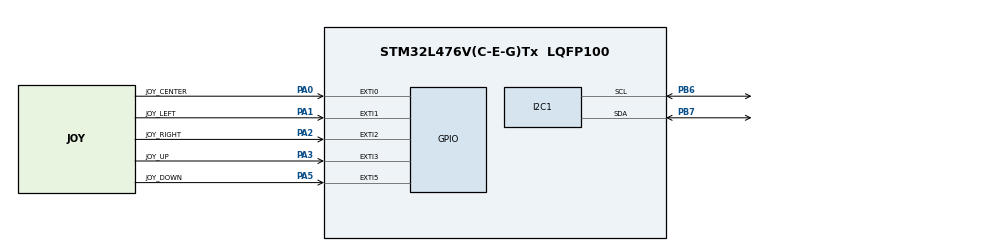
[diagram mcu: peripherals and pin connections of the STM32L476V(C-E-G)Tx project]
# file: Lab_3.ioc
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Mcu.Family=STM32L4
RCC.MSI_VALUE=4000000
PA2.GPIO_PuPd=GPIO_PULLDOWN
RTC.AlarmMaskHours-Alarm\ A=RTC_ALARMMASK_HOURS
RCC.CortexFreq_Value=4000000
NVIC.I2C1_EV_IRQn=true\:0\:0\:false\:false\:true\:true\:true
PA3.GPIO_PuPd=GPIO_PULLDOWN
PA0.GPIO_Label=JOY_CENTER
NVIC.EXTI3_IRQn=true\:0\:0\:false\:false\:true\:true\:true
VP_RTC_VS_RTC_Activate.Mode=RTC_Enabled
RTC.WeekDay=RTC_WEEKDAY_MONDAY
RTC.AlarmMaskMinutes-Alarm\ A=RTC_ALARMMASK_MINUTES
VP_RTC_VS_RTC_Alarm_A_Intern.Mode=Alarm A
ProjectManager.StackSize=0x400
RTC.Seconds_A-Alarm\ A=0
NVIC.EXTI1_IRQn=true\:0\:0\:false\:false\:true\:true\:true
ProjectManager.TargetToolchain=MDK-ARM V5.27
RTC.Year=0
PB6.Signal=I2C1_SCL
PB6.Mode=I2C
RTC.Format=RTC_FORMAT_BIN
RCC.LSE_VALUE=32768
PA1.GPIO_PuPd=GPIO_PULLDOWN
PA1.Signal=GPXTI1
RCC.PREFETCH_ENABLE=1
PA5.Signal=GPXTI5
RCC.HSE_VALUE=8000000
RTC.Minutes=30
board=STM32L476G-DISCO
RCC.VCOOutputFreq_Value=32000000
RTC.AlarmMaskSeconds-Alarm\ A=RTC_ALARMMASK_SECONDS
RTC.Month=RTC_MONTH_NOVEMBER
PA5.GPIO_PuPd=GPIO_PULLDOWN
PA1.GPIO_Label=JOY_LEFT
PB7.Signal=I2C1_SDA
NVIC.I2C1_ER_IRQn=true\:0\:0\:false\:false\:true\:true\:true
NVIC.RTC_Alarm_IRQn=true\:0\:0\:false\:false\:true\:true\:true
Mcu.Name=STM32L476V(C-E-G)Tx
RTC.Alarm-Alarm\ A=RTC_ALARM_A
PA2.Signal=GPXTI2
PA0.Signal=GPXTI0
RTC.AlarmMaskDateWeekDay-Alarm\ A=RTC_ALARMMASK_DATEWEEKDAY
NVIC.EXTI0_IRQn=true\:0\:0\:false\:false\:true\:true\:true
RTC.Hours=9
Mcu.Package=LQFP100
PA5.GPIO_Label=JOY_DOWN
PA2.GPIO_Label=JOY_RIGHT
PB7.Mode=I2C
NVIC.EXTI9_5_IRQn=true\:0\:0\:false\:false\:true\:true\:true
VP_RTC_VS_RTC_Calendar.Mode=RTC_Calendar
ProjectManager.HeapSize=0x200
RCC.HSI_VALUE=16000000
NVIC.PriorityGroup=NVIC_PRIORITYGROUP_4
NVIC.EXTI2_IRQn=true\:0\:0\:false\:false\:true\:true\:true
PA3.GPIO_Label=JOY_UP
PA3.Signal=GPXTI3

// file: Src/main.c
/* USER CODE BEGIN Header */
/**
  ******************************************************************************
  * @file           : main.c
  * @brief          : Main program body
  ******************************************************************************
  * @attention
  *
  * <h2><center>&copy; Copyright (c) 2020 STMicroelectronics.
  * All rights reserved.</center></h2>
  *
  * This software component is licensed by ST under BSD 3-Clause license,
  * the "License"; You may not use this file except in compliance with the
  * License. You may obtain a copy of the License at:
  *                        opensource.org/licenses/BSD-3-Clause
  *
  ******************************************************************************
  */
/* USER CODE END Header */
#include "main.h"

/* USER CODE BEGIN Includes */
#include <stdio.h>
#include <stdlib.h>
#include <string.h>
/* USER CODE END Includes */

/* USER CODE BEGIN PTD */
typedef enum fsm_state {
	SHOW_TIME,
	SHOW_DATE,
	STORE_TIME_EE,
	SHOW_STORED,
	SET_TIME
} fsm_state;

typedef enum set_state {
	DAY,
	DATE,
	MONTH,
	YEAR,
	HOUR,
	MINUTE,
	SECOND,
} set_state;

typedef enum button {
	NONE,
	SEL,
	LEFT,
	RIGHT,
	UP,
	DOWN
}	button;

/* USER CODE END PTD */

/* USER CODE BEGIN PD */
RTC_DateTypeDef date_struct;
RTC_TimeTypeDef time_struct;
/* USER CODE END PD */

I2C_HandleTypeDef hi2c1;
RTC_HandleTypeDef hrtc;

/* USER CODE BEGIN PV */
#define EEPROM_ADDRESS  0xA0
__IO uint16_t memLocation = 0x0000;
uint16_t EE_status;
char lcd_buffer[6];    // LCD display buffe

fsm_state STATE = SHOW_TIME;
button BUTTON = NONE;

set_state SET_STATE;

uint16_t sel_tick = 0;

uint16_t date, year, sec, min, hour;
char day[6], month[6];
/* USER CODE END PV */

void SystemClock_Config(void);
static void MX_GPIO_Init(void);
static void MX_I2C1_Init(void);
static void MX_RTC_Init(void);
/* USER CODE BEGIN PFP */
void show_time();
void store_time();
void show_stored();
void show_date();
void set_time();

void get_day();
void get_month();

/* USER CODE END PFP */

int main(void)
{

  /* MCU Configuration--------------------------------------------------------*/

  /* Reset of all peripherals, Initializes the Flash interface and the Systick. */
  HAL_Init();

  /* Configure the system clock */
  SystemClock_Config();

  /* USER CODE BEGIN SysInit */
	HAL_InitTick(0x0000);
	BSP_LCD_GLASS_Init();
	BSP_LED_Init(LED4);
  /* USER CODE END SysInit */

  /* Initialize all configured peripherals */
  MX_GPIO_Init();
  MX_I2C1_Init();
  MX_RTC_Init();
  /* USER CODE BEGIN 2 */

	/*---------------------TEST I2C and EEPROM----------------------
	uint8_t data1 = 0x80,  data2=0x81;
	uint8_t readData=0x00;

	EE_status=I2C_ByteWrite(&hi2c1,EEPROM_ADDRESS, memLocation, data1);

  if(EE_status != HAL_OK)
  {
    I2C_Error(&hi2c1);
  }

	BSP_LCD_GLASS_Clear();
	if (EE_status==HAL_OK) {
			BSP_LCD_GLASS_DisplayString((uint8_t*)"w 1 ok");
	}else
			BSP_LCD_GLASS_DisplayString((uint8_t*)"w 1 X");

	HAL_Delay(1000);

	EE_status=I2C_ByteWrite(&hi2c1,EEPROM_ADDRESS, memLocation+1 , data2);////////////////////////////////

  if(EE_status != HAL_OK)
  {
    I2C_Error(&hi2c1);
  }

	BSP_LCD_GLASS_Clear();
	if (EE_status==HAL_OK) {
			BSP_LCD_GLASS_DisplayString((uint8_t*)"w 2 ok");
	}else
			BSP_LCD_GLASS_DisplayString((uint8_t*)"w 2 X");

	HAL_Delay(1000);

	readData=I2C_ByteRead(&hi2c1,EEPROM_ADDRESS, memLocation);

	BSP_LCD_GLASS_Clear();
	if (data1 == readData) {
			BSP_LCD_GLASS_DisplayString((uint8_t*)"r 1 ok");;
	}else{
			BSP_LCD_GLASS_DisplayString((uint8_t*)"r 1 X");
	}

	HAL_Delay(1000);

	readData=I2C_ByteRead(&hi2c1,EEPROM_ADDRESS, memLocation+1);

	BSP_LCD_GLASS_Clear();
	if (data2 == readData) {
			BSP_LCD_GLASS_DisplayString((uint8_t*)"r 2 ok");;
	}else{
			BSP_LCD_GLASS_DisplayString((uint8_t *)"r 2 X");
	}

	HAL_Delay(1000);

	BSP_LCD_GLASS_Clear();
	sprintf(lcd_buffer,"%d",readData);
	BSP_LCD_GLASS_DisplayString((uint8_t*) lcd_buffer);
	*/

  /* USER CODE END 2 */

  /* Infinite loop */
  /* USER CODE BEGIN WHILE */
  while (1)
  {
		switch(STATE) {
			case SHOW_TIME:
				show_time();
				break;

			case SHOW_DATE:
				show_date();
				STATE = SHOW_TIME;
				break;

			case STORE_TIME_EE:
				store_time();
				STATE = SHOW_TIME;
				break;

			case SHOW_STORED:
				show_stored();
				STATE = SHOW_TIME;
				break;

			case SET_TIME:
				set_time();
				break;

			default:
				break;

			BUTTON = NONE;
	}

    /* USER CODE END WHILE */

  }
}

void SystemClock_Config(void)
{
  RCC_OscInitTypeDef RCC_OscInitStruct = {0};
  RCC_ClkInitTypeDef RCC_ClkInitStruct = {0};
  RCC_PeriphCLKInitTypeDef PeriphClkInit = {0};

  /** Initializes the RCC Oscillators according to the specified parameters
  * in the RCC_OscInitTypeDef structure.
  */
  RCC_OscInitStruct.OscillatorType = RCC_OSCILLATORTYPE_LSI|RCC_OSCILLATORTYPE_MSI;
  RCC_OscInitStruct.LSIState = RCC_LSI_ON;
  RCC_OscInitStruct.MSIState = RCC_MSI_ON;
  RCC_OscInitStruct.MSICalibrationValue = 0;
  RCC_OscInitStruct.MSIClockRange = RCC_MSIRANGE_6;
  RCC_OscInitStruct.PLL.PLLState = RCC_PLL_NONE;
  if (HAL_RCC_OscConfig(&RCC_OscInitStruct) != HAL_OK)
  {
    Error_Handler();
  }
  /** Initializes the CPU, AHB and APB buses clocks
  */
  RCC_ClkInitStruct.ClockType = RCC_CLOCKTYPE_HCLK|RCC_CLOCKTYPE_SYSCLK
                              |RCC_CLOCKTYPE_PCLK1|RCC_CLOCKTYPE_PCLK2;
  RCC_ClkInitStruct.SYSCLKSource = RCC_SYSCLKSOURCE_MSI;
  RCC_ClkInitStruct.AHBCLKDivider = RCC_SYSCLK_DIV1;
  RCC_ClkInitStruct.APB1CLKDivider = RCC_HCLK_DIV1;
  RCC_ClkInitStruct.APB2CLKDivider = RCC_HCLK_DIV1;

  if (HAL_RCC_ClockConfig(&RCC_ClkInitStruct, FLASH_LATENCY_0) != HAL_OK)
  {
    Error_Handler();
  }
  PeriphClkInit.PeriphClockSelection = RCC_PERIPHCLK_RTC|RCC_PERIPHCLK_I2C1;
  PeriphClkInit.I2c1ClockSelection = RCC_I2C1CLKSOURCE_PCLK1;
  PeriphClkInit.RTCClockSelection = RCC_RTCCLKSOURCE_LSI;
  if (HAL_RCCEx_PeriphCLKConfig(&PeriphClkInit) != HAL_OK)
  {
    Error_Handler();
  }
  /** Configure the main internal regulator output voltage
  */
  if (HAL_PWREx_ControlVoltageScaling(PWR_REGULATOR_VOLTAGE_SCALE1) != HAL_OK)
  {
    Error_Handler();
  }
}

static void MX_I2C1_Init(void)
{

  hi2c1.Instance = I2C1;
  hi2c1.Init.Timing = 0x00000E14;
  hi2c1.Init.OwnAddress1 = 0;
  hi2c1.Init.AddressingMode = I2C_ADDRESSINGMODE_7BIT;
  hi2c1.Init.DualAddressMode = I2C_DUALADDRESS_DISABLE;
  hi2c1.Init.OwnAddress2 = 0;
  hi2c1.Init.OwnAddress2Masks = I2C_OA2_NOMASK;
  hi2c1.Init.GeneralCallMode = I2C_GENERALCALL_DISABLE;
  hi2c1.Init.NoStretchMode = I2C_NOSTRETCH_DISABLE;
  if (HAL_I2C_Init(&hi2c1) != HAL_OK)
  {
    Error_Handler();
  }
  /** Configure Analogue filter
  */
  if (HAL_I2CEx_ConfigAnalogFilter(&hi2c1, I2C_ANALOGFILTER_ENABLE) != HAL_OK)
  {
    Error_Handler();
  }
  /** Configure Digital filter
  */
  if (HAL_I2CEx_ConfigDigitalFilter(&hi2c1, 0) != HAL_OK)
  {
    Error_Handler();
  }

}

static void MX_RTC_Init(void)
{

  RTC_TimeTypeDef sTime = {0};
  RTC_DateTypeDef sDate = {0};
  RTC_AlarmTypeDef sAlarm = {0};

  /** Initialize RTC Only
  */
  hrtc.Instance = RTC;
  hrtc.Init.HourFormat = RTC_HOURFORMAT_24;
  hrtc.Init.AsynchPrediv = 127;
  hrtc.Init.SynchPrediv = 255;
  hrtc.Init.OutPut = RTC_OUTPUT_DISABLE;
  hrtc.Init.OutPutRemap = RTC_OUTPUT_REMAP_NONE;
  hrtc.Init.OutPutPolarity = RTC_OUTPUT_POLARITY_HIGH;
  hrtc.Init.OutPutType = RTC_OUTPUT_TYPE_OPENDRAIN;
  if (HAL_RTC_Init(&hrtc) != HAL_OK)
  {
    Error_Handler();
  }

  /** Initialize RTC and set the Time and Date
  */
  sTime.Hours = 9;
  sTime.Minutes = 30;
  sTime.Seconds = 0;
  sTime.DayLightSaving = RTC_DAYLIGHTSAVING_NONE;
  sTime.StoreOperation = RTC_STOREOPERATION_RESET;
  if (HAL_RTC_SetTime(&hrtc, &sTime, RTC_FORMAT_BIN) != HAL_OK)
  {
    Error_Handler();
  }
  sDate.WeekDay = RTC_WEEKDAY_THURSDAY;
  sDate.Month = RTC_MONTH_NOVEMBER;
  sDate.Date = 5;
  sDate.Year = 0;

  if (HAL_RTC_SetDate(&hrtc, &sDate, RTC_FORMAT_BIN) != HAL_OK)
  {
    Error_Handler();
  }
  /** Enable the Alarm A
  */
  sAlarm.AlarmTime.Hours = 0;
  sAlarm.AlarmTime.Minutes = 0;
  sAlarm.AlarmTime.Seconds = 0;
  sAlarm.AlarmTime.SubSeconds = 0;
  sAlarm.AlarmTime.DayLightSaving = RTC_DAYLIGHTSAVING_NONE;
  sAlarm.AlarmTime.StoreOperation = RTC_STOREOPERATION_RESET;
  sAlarm.AlarmMask = RTC_ALARMMASK_ALL;
  sAlarm.AlarmSubSecondMask = RTC_ALARMSUBSECONDMASK_ALL;
  sAlarm.AlarmDateWeekDaySel = RTC_ALARMDATEWEEKDAYSEL_DATE;
  sAlarm.AlarmDateWeekDay = 1;
  sAlarm.Alarm = RTC_ALARM_A;
  if (HAL_RTC_SetAlarm_IT(&hrtc, &sAlarm, RTC_FORMAT_BIN) != HAL_OK)
  {
		BSP_LCD_GLASS_Clear();
		BSP_LCD_GLASS_DisplayString((uint8_t*)"AA ERR");
    Error_Handler();
  }
  /* USER CODE BEGIN RTC_Init 2 */
	HAL_NVIC_EnableIRQ(RTC_Alarm_IRQn);
	HAL_NVIC_SetPriority(RTC_Alarm_IRQn, 3, 0);
  /* USER CODE END RTC_Init 2 */

}

static void MX_GPIO_Init(void)
{
  GPIO_InitTypeDef GPIO_InitStruct = {0};

  /* GPIO Ports Clock Enable */
  __HAL_RCC_GPIOA_CLK_ENABLE();
  __HAL_RCC_GPIOB_CLK_ENABLE();

  /*Configure GPIO pin : JOY_CENTER_Pin */
  GPIO_InitStruct.Pin = JOY_CENTER_Pin;
  GPIO_InitStruct.Mode = GPIO_MODE_IT_RISING;
  GPIO_InitStruct.Pull = GPIO_NOPULL;
  HAL_GPIO_Init(JOY_CENTER_GPIO_Port, &GPIO_InitStruct);

  /*Configure GPIO pins : JOY_LEFT_Pin JOY_RIGHT_Pin JOY_UP_Pin JOY_DOWN_Pin */
  GPIO_InitStruct.Pin = JOY_LEFT_Pin|JOY_RIGHT_Pin|JOY_UP_Pin|JOY_DOWN_Pin;
  GPIO_InitStruct.Mode = GPIO_MODE_IT_RISING;
  GPIO_InitStruct.Pull = GPIO_PULLDOWN;
  HAL_GPIO_Init(GPIOA, &GPIO_InitStruct);

  /* EXTI interrupt init*/
  HAL_NVIC_SetPriority(EXTI0_IRQn, 0, 0);
  HAL_NVIC_EnableIRQ(EXTI0_IRQn);

  HAL_NVIC_SetPriority(EXTI1_IRQn, 0, 0);
  HAL_NVIC_EnableIRQ(EXTI1_IRQn);

  HAL_NVIC_SetPriority(EXTI2_IRQn, 0, 0);
  HAL_NVIC_EnableIRQ(EXTI2_IRQn);

  HAL_NVIC_SetPriority(EXTI3_IRQn, 0, 0);
  HAL_NVIC_EnableIRQ(EXTI3_IRQn);

  HAL_NVIC_SetPriority(EXTI9_5_IRQn, 0, 0);
  HAL_NVIC_EnableIRQ(EXTI9_5_IRQn);

	HAL_NVIC_SetPriority((IRQn_Type)EXTI15_10_IRQn, 3, 0x00);
	HAL_NVIC_EnableIRQ((IRQn_Type)EXTI15_10_IRQn);

}

/* USER CODE BEGIN 4 */

void HAL_RTC_AlarmAEventCallback(RTC_HandleTypeDef *hrtc)
{
	//BSP_LED_Toggle(LED4);					//test RTC ALARM

	switch(STATE) {
		case SHOW_TIME:
			HAL_RTC_GetTime(hrtc, &time_struct, RTC_FORMAT_BIN);
			HAL_RTC_GetDate(hrtc, &date_struct, RTC_FORMAT_BIN);	// get date unlocks

			sec =  time_struct.Seconds;														//write to vars
			min =  time_struct.Minutes;
			hour = time_struct.Hours;

			sprintf(lcd_buffer,"%02u%02u%02u",hour,min,sec); 			//populate string

			BSP_LCD_GLASS_Clear();
			BSP_LCD_GLASS_DisplayString((uint8_t*)lcd_buffer);		//display

			break;

		default:
			break;
	}
}

void HAL_GPIO_EXTI_Callback(uint16_t GPIO_Pin) {							//buffer button pressed
	switch(GPIO_Pin) {

		case GPIO_PIN_0:
			BUTTON = SEL;
			break;

		case GPIO_PIN_1:
			BUTTON = LEFT;
			break;

		case GPIO_PIN_2:
			BUTTON = RIGHT;
			break;

		case GPIO_PIN_3:
			BUTTON = UP;
			break;

		case GPIO_PIN_5:
			BUTTON = DOWN;
			break;

	}
}

void show_time(){

	if(BSP_JOY_GetState() == JOY_SEL){
		uwTick = 0;																				//initial tick time
		while(BSP_JOY_GetState() == JOY_SEL){
			if (uwTick > 1000) {										//check if the difference in current time is greater than 1 second, if so show date
				STATE = SHOW_DATE;
				BUTTON = NONE;
				return;
			}
		}
		STATE = STORE_TIME_EE;
	}

	switch(BUTTON) {

		case LEFT:																																// show stored times
			STATE = SHOW_STORED;

			break;

		case DOWN:																																// clear EEPROM
			I2C_ByteWrite(&hi2c1,EEPROM_ADDRESS, memLocation, 0);
			I2C_ByteWrite(&hi2c1,EEPROM_ADDRESS, memLocation+1, 0);
			I2C_ByteWrite(&hi2c1,EEPROM_ADDRESS, memLocation+2, 0);

			memLocation = (memLocation+3)%6;

			I2C_ByteWrite(&hi2c1,EEPROM_ADDRESS, memLocation, 0);
			I2C_ByteWrite(&hi2c1,EEPROM_ADDRESS, memLocation+1, 0);
			I2C_ByteWrite(&hi2c1,EEPROM_ADDRESS, memLocation+2, 0);

			break;

		case RIGHT:
			BSP_LCD_GLASS_Clear();

			STATE = SET_TIME;
			SET_STATE = DAY;
			break;

		default:
			break;
	}
	BUTTON = NONE;																						// clear button incase it was pressed on accident in this state

}

void store_time(){

	memLocation = (memLocation+3)%6;													//cycle memory locations 0x00 to 0x05 (6 spots)

	I2C_ByteWrite(&hi2c1,EEPROM_ADDRESS, memLocation, sec);
	I2C_ByteWrite(&hi2c1,EEPROM_ADDRESS, memLocation+1, min);
  I2C_ByteWrite(&hi2c1,EEPROM_ADDRESS, memLocation+2, hour);

	BUTTON = NONE;																						// clear button incase it was pressed on accident in this state

}

void show_stored(){

	sec = I2C_ByteRead(&hi2c1,EEPROM_ADDRESS, memLocation); 							//display first stored time
	min = I2C_ByteRead(&hi2c1,EEPROM_ADDRESS, memLocation+1);
	hour = I2C_ByteRead(&hi2c1,EEPROM_ADDRESS, memLocation+2);

	sprintf(lcd_buffer,"%02u%02u%02u",hour,min,sec); 			//populate string

	BSP_LCD_GLASS_Clear();
	BSP_LCD_GLASS_DisplayString((uint8_t*)lcd_buffer);		//display

	HAL_Delay(1000);

	memLocation = (memLocation+3)%6;																					//increment to next 3 locations

	sec = I2C_ByteRead(&hi2c1,EEPROM_ADDRESS, memLocation); 							//display second stored time
	min = I2C_ByteRead(&hi2c1,EEPROM_ADDRESS, memLocation+1);
	hour = I2C_ByteRead(&hi2c1,EEPROM_ADDRESS, memLocation+2);

	sprintf(lcd_buffer,"%02u%02u%02u",hour,min,sec); 			//populate string

	BSP_LCD_GLASS_Clear();
	BSP_LCD_GLASS_DisplayString((uint8_t*)lcd_buffer);		//display

	HAL_Delay(1000);

	memLocation = (memLocation+3)%6;																					//increment again (cycle back)

	BUTTON = NONE;												// clear button incase it was pressed on accident in this state

}

void show_date(){								// show date state

	date = date_struct.Date;						//get date
	year = 2020 + date_struct.Year;			//getc year

	get_day();
	get_month();

	BSP_LCD_GLASS_Clear();																					//print day
	BSP_LCD_GLASS_DisplayString((uint8_t*)day);
	HAL_Delay(1000);

	sprintf(lcd_buffer,"%02u",date);																//print date
	BSP_LCD_GLASS_Clear();
	BSP_LCD_GLASS_DisplayString((uint8_t*)lcd_buffer);
	HAL_Delay(1000);

	BSP_LCD_GLASS_Clear();																					//print month
	BSP_LCD_GLASS_DisplayString((uint8_t*)month);
	HAL_Delay(1000);

	sprintf(lcd_buffer,"%02u",year);																//print year
	BSP_LCD_GLASS_Clear();
	BSP_LCD_GLASS_DisplayString((uint8_t*)lcd_buffer);
	HAL_Delay(1000);

	BUTTON = NONE;// clear button incase it was pressed on accident in this state

}

void set_time(){

	switch(SET_STATE){
		case DAY:
			get_day();																	//print day
			BSP_LCD_GLASS_DisplayString((uint8_t*)day);
			if(BUTTON == UP){
				date_struct.WeekDay = date_struct.WeekDay%7 + 1;
				BSP_LCD_GLASS_Clear();
			}
			else if(BUTTON == DOWN){
				if(date_struct.WeekDay == 1) date_struct.WeekDay = 7;
				else date_struct.WeekDay--;
				BSP_LCD_GLASS_Clear();
			}
			break;

		case DATE:
			date = date_struct.Date;						//get date
			sprintf(lcd_buffer,"%02u",date);																//print date
			BSP_LCD_GLASS_DisplayString((uint8_t*)lcd_buffer);
			if(BUTTON == UP){
				date_struct.Date = date_struct.Date%31 + 1;
				BSP_LCD_GLASS_Clear();
			}
			else if(BUTTON == DOWN){
				if(date_struct.Date == 1) date_struct.Date = 31;
				else date_struct.Date--;
				BSP_LCD_GLASS_Clear();
			}
			break;

		case MONTH:
			get_month();																				//print month
			BSP_LCD_GLASS_DisplayString((uint8_t*)month);
			if(BUTTON == UP){
				date_struct.Month = date_struct.Month%12 + 1;
				BSP_LCD_GLASS_Clear();
			}
			else if(BUTTON == DOWN){
				if(date_struct.Month == 1) date_struct.Month = 12;
				else date_struct.Month--;
				BSP_LCD_GLASS_Clear();
			}
			break;

		case YEAR:
			year = 2020 + date_struct.Year;														//getc year
			sprintf(lcd_buffer,"%02u",year);																//print year
			BSP_LCD_GLASS_DisplayString((uint8_t*)lcd_buffer);
			if(BUTTON == UP){
				if(date_struct.Year < 99) date_struct.Year++;
				BSP_LCD_GLASS_Clear();
			}
			else if(BUTTON == DOWN){
				if(date_struct.Year > 0) date_struct.Year--;
				BSP_LCD_GLASS_Clear();
			}
			break;

		case HOUR:
			hour = time_struct.Hours;
			sprintf(lcd_buffer,"%02uxxxx",hour);																//print hour
			BSP_LCD_GLASS_DisplayString((uint8_t*)lcd_buffer);
			if(BUTTON == UP){
				time_struct.Hours = (time_struct.Hours+1)%24 ;
				BSP_LCD_GLASS_Clear();
			}
			else if(BUTTON == DOWN){
				if(time_struct.Hours == 0) time_struct.Hours = 23;
				else time_struct.Hours--;
				BSP_LCD_GLASS_Clear();
			}
			break;

		case MINUTE:
			min = time_struct.Minutes;
			sprintf(lcd_buffer,"xx%02uxx",min);																//print min
			BSP_LCD_GLASS_DisplayString((uint8_t*)lcd_buffer);
			if(BUTTON == UP){
				time_struct.Minutes = (time_struct.Minutes+1)%60;
				BSP_LCD_GLASS_Clear();
			}
			else if(BUTTON == DOWN){
				if(time_struct.Minutes == 0) time_struct.Minutes = 59;
				else time_struct.Minutes--;
				BSP_LCD_GLASS_Clear();
			}
			break;

		case SECOND:
			sec = time_struct.Seconds;
			sprintf(lcd_buffer,"xxxx%02u",sec);																//print sec
			BSP_LCD_GLASS_DisplayString((uint8_t*)lcd_buffer);
			if(BUTTON == UP){
				time_struct.Seconds = (time_struct.Seconds+1)%60;
				BSP_LCD_GLASS_Clear();
			}
			else if(BUTTON == DOWN){
				if(time_struct.Seconds == 0) time_struct.Seconds = 59;
				else time_struct.Seconds--;
				BSP_LCD_GLASS_Clear();
			}
			break;
	}

	switch(BUTTON){
		case LEFT:
			if(SET_STATE == 0) SET_STATE = 6;
			else SET_STATE--;
			BSP_LCD_GLASS_Clear();
			break;
		case RIGHT:
			SET_STATE = (SET_STATE+1)%7;
			BSP_LCD_GLASS_Clear();
			break;

		case SEL:
			if (HAL_RTC_SetTime(&hrtc, &time_struct, RTC_FORMAT_BIN) != HAL_OK)	{
				Error_Handler();
			}
			if (HAL_RTC_SetDate(&hrtc, &date_struct, RTC_FORMAT_BIN) != HAL_OK) {
				Error_Handler();
			}

			STATE = SHOW_TIME;
			HAL_Delay(500);
			break;
		default:
			break;
	}

	BUTTON = NONE;
}

void get_day(){
	switch(date_struct.WeekDay){				// assign weekday from structure
		case 1:
			strcpy(day, "MON");
			break;
		case 2:
			strcpy(day, "TUE");
			break;
		case 3:
			strcpy(day, "WED");
			break;
		case 4:
			strcpy(day, "THU");
			break;
		case 5:
			strcpy(day, "FRI");
			break;
		case 6:
			strcpy(day, "SAT");
			break;
		case 7:
			strcpy(day, "SUN");
			break;
	}
}

void get_month(){
	switch(date_struct.Month){				//Assign month from structure
		case 1:
			strcpy(month, "JAN");
			break;
		case 2:
			strcpy(month, "FEB");
			break;
		case 3:
			strcpy(month, "MAR");
			break;
		case 4:
			strcpy(month, "APR");
			break;
		case 5:
			strcpy(month, "MAY");
			break;
		case 6:
			strcpy(month, "JUN");
			break;
		case 7:
			strcpy(month, "JUL");
			break;
		case 8:
			strcpy(month, "AUG");
			break;
		case 9:
			strcpy(month, "SEP");
			break;
		case 10:
			strcpy(month, "OCT");
			break;
		case 11:
			strcpy(month, "NOV");
			break;
		case 12:
			strcpy(month, "DEC");
			break;
	}
}
/* USER CODE END 4 */

void Error_Handler(void)
{
}

/************************ (C) COPYRIGHT STMicroelectronics *****END OF FILE****/
